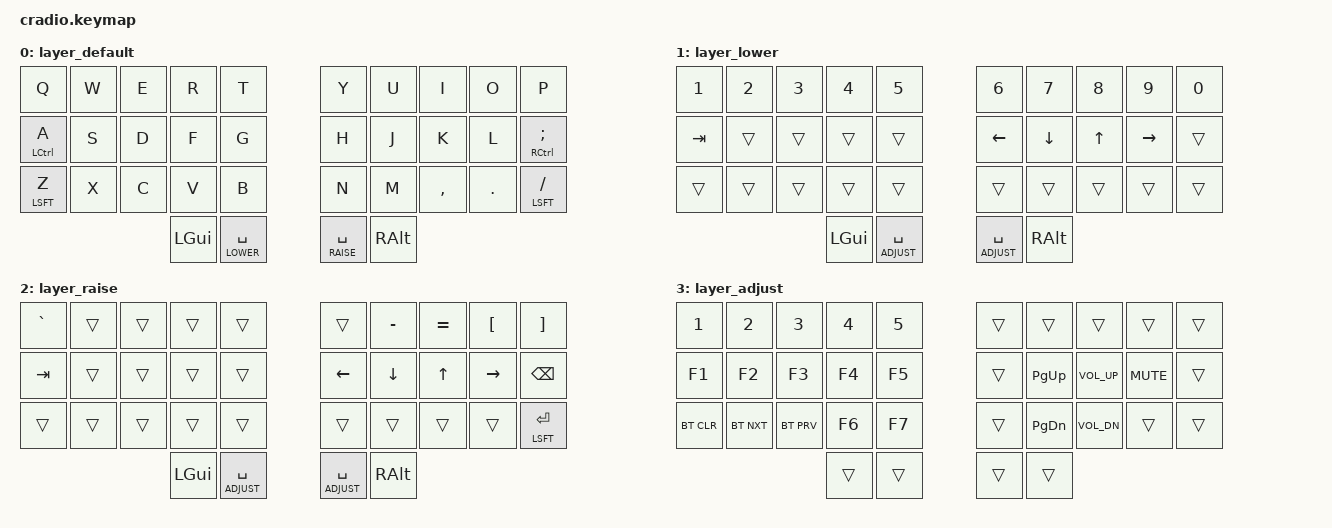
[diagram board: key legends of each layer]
/*
 * Copyright (c) 2020 The ZMK Contributors
 *
 * SPDX-License-Identifier: MIT
 */

#include <behaviors.dtsi>
#include <dt-bindings/zmk/keys.h>
#include <dt-bindings/zmk/bt.h>

// Layers
#define DEFAULT   0
#define LOWER     1
#define RAISE     2
#define ADJUST    3

&mt {
  flavor = "balanced";
  tapping_term_ms = <125>;
  retro-tap;
};

/ {

  combos {
    compatible = "zmk,combos";
    combo_esc {
      timeout-ms = <50>;
      key-positions = <16 17>; // jk
      bindings = <&kp ESC>;
    };

    combo_tab_home {
      timeout-ms = <50>;
      key-positions = <0 1>; // qw
      bindings = <&kp TAB>;
    };

    combo_tab_home {
      timeout-ms = <50>;
      key-positions = <12 13>; // df
      bindings = <&kp TAB>;
    };

    combo_quot {
      timeout-ms = <50>;
      key-positions = <18 19>; // l;
      bindings = <&kp SINGLE_QUOTE>;
    };

    combo_bslash {
      timeout-ms = <50>;
      key-positions = <8 9>;
      bindings = <&kp BACKSLASH>;
    };

    combo_bootloader {
      timeout-ms = <50>;
      key-positions = <0 10 20>; // left column
      bindings = <&bootloader>;
    };

  };

  keymap {
    compatible = "zmk,keymap";

    layer_default {
      bindings = <
        &kp Q &kp W &kp E &kp R &kp T 						&kp Y &kp U  &kp I    &kp O   &kp P
        &mt LCTL A &kp S &kp D &kp F &kp G 			      &kp H &kp J &kp K &kp L &mt RCTL SCLN
        &mt LSFT Z &kp X &kp C &kp V &kp B			  &kp N &kp M  &kp CMMA &kp DOT &mt LSFT SLASH
        &kp LGUI &lt LOWER SPC                    &lt RAISE SPC &kp RALT
        >;
    };

    layer_lower {
      bindings = <
        &kp NUM_1  &kp NUM_2    &kp NUM_3    &kp NUM_4    &kp NUM_5		&kp NUM_6 &kp NUM_7 &kp NUM_8 &kp NUM_9 &kp NUM_0
        &kp TAB    &trans       &trans       &trans       &trans		  &kp LEFT  &kp DOWN  &kp UP    &kp RIGHT &trans
        &trans     &trans 	    &trans       &trans       &trans 	    &trans    &trans    &trans    &trans    &trans
        &kp LGUI &lt ADJUST SPC                    &lt ADJUST SPC &kp RALT
        >;
    };

    layer_raise {
      bindings = <
        &kp GRAVE   &trans 	    &trans       &trans       &trans 	    &trans      &kp MINUS     &kp EQUAL    &kp LBKT   &kp RBKT
        &kp TAB     &trans      &trans       &trans       &trans		  &kp LEFT    &kp DOWN      &kp UP       &kp RIGHT  &kp BKSP
        &trans      &trans      &trans       &trans       &trans		  &trans      &trans        &trans       &trans     &mt LSFT ENTER
        &kp LGUI &lt ADJUST SPC                    &lt ADJUST SPC &kp RALT
        >;
    };

    layer_adjust {
      bindings = <
        &kp NUM_1  &kp NUM_2    &kp NUM_3    &kp NUM_4    &kp NUM_5 			&trans &trans   &trans   &trans  &trans
        &kp F1 &kp F2 &kp F3 &kp F4 &kp F5  						&trans &kp PG_UP  &kp K_VOL_UP &kp K_MUTE &trans
        &bt BT_CLR  &bt BT_NXT &bt BT_PRV &kp F6 &kp F7   				&trans &kp PG_DN  &kp K_VOL_DN  &trans &trans
        &trans &trans  					&trans &trans
        >;
    };

  };
};
